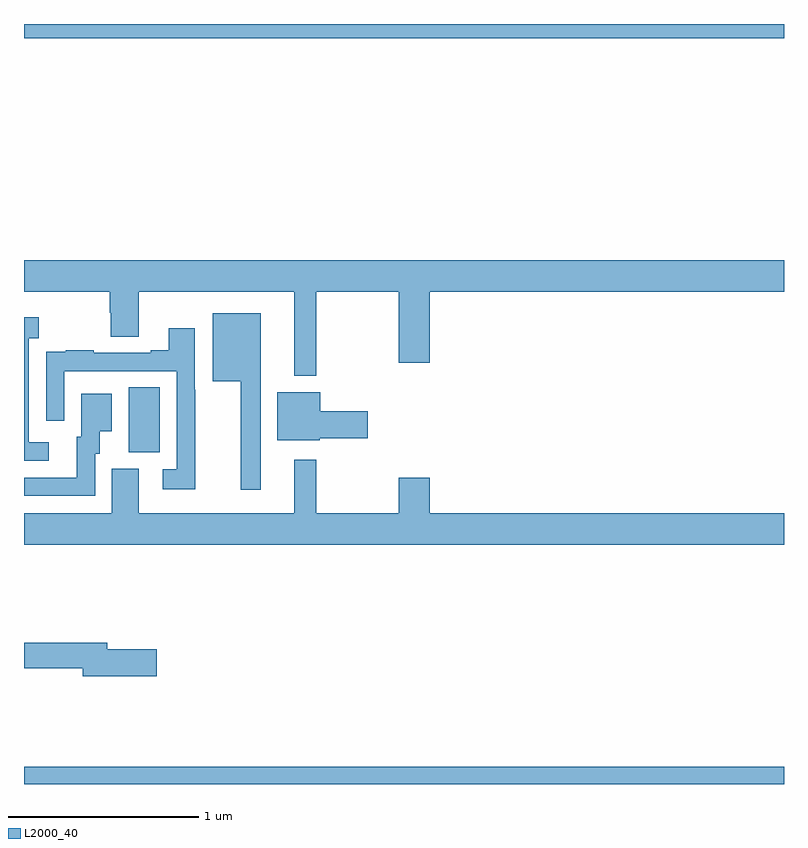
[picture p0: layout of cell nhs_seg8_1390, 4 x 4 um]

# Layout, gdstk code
import gdstk
lib = gdstk.Library(unit=1e-6, precision=1e-09)
def R(c, l, rs):  # rectangles x0, y0, x1, y1
    for r in rs: c.add(gdstk.rectangle(r[:2], r[2:], *l))
def P(c, l, *ps):  # polygons
    for p in ps: c.add(gdstk.Polygon(p, *l))
L2000_40 = (2000, 40)

nhs_seg8_1390 = lib.new_cell('nhs_seg8_1390')
R(nhs_seg8_1390, L2000_40, [(199,1121.9,203,1121.992), (199.55,1123.645,199.714,1123.988), (199,1125.824,203,1125.9)])
P(nhs_seg8_1390, L2000_40, [(199,1124.492),(199.451,1124.492),(199.451,1124.379),(199.456,1124.379),(199.456,1124.254),(199.603,1124.254),(199.603,1124.492),(200.423,1124.492),(200.423,1124.048),(200.537,1124.048),(200.537,1124.492),(200.972,1124.492),(200.972,1124.118),(201.136,1124.118),(201.136,1124.492),(203,1124.492),(203,1124.656),(199,1124.656)],
  [(200.245,1124.377),(199.994,1124.377),(199.994,1124.021),(200.141,1124.021),(200.141,1123.449),(200.245,1123.449)],
  [(199.129,1123.698),(199.026,1123.698),(199.026,1124.246),(199.078,1124.246),(199.078,1124.356),(199,1124.356),(199,1123.602),(199.129,1123.602)],
  [(199.902,1123.976),(199.899,1123.976),(199.899,1124.299),(199.763,1124.299),(199.763,1124.182),(199.667,1124.182),(199.667,1124.169),(199.367,1124.169),(199.367,1124.182),(199.219,1124.182),(199.219,1124.175),(199.117,1124.175),(199.117,1124.066),(199.116,1124.066),(199.116,1123.812),(199.212,1123.812),(199.212,1124.073),(199.803,1124.073),(199.803,1123.557),(199.731,1123.557),(199.731,1123.452),(199.902,1123.452)],
  [(200.556,1123.72),(200.809,1123.72),(200.809,1123.862),(200.56,1123.862),(200.56,1123.963),(200.333,1123.963),(200.333,1123.709),(200.556,1123.709)],
  [(199.374,1123.638),(199.399,1123.638),(199.399,1123.757),(199.462,1123.757),(199.462,1123.954),(199.301,1123.954),(199.301,1123.728),(199.277,1123.728),(199.277,1123.512),(199,1123.512),(199,1123.416),(199.374,1123.416)],
  [(203,1123.324),(201.136,1123.324),(201.136,1123.513),(200.972,1123.513),(200.972,1123.324),(200.537,1123.324),(200.537,1123.606),(200.423,1123.606),(200.423,1123.324),(199.603,1123.324),(199.603,1123.56),(199.463,1123.56),(199.463,1123.324),(199,1123.324),(199,1123.16),(203,1123.16)],
  [(199.699,1122.608),(199.438,1122.608),(199.438,1122.644),(199,1122.644),(199,1122.508),(199.31,1122.508),(199.31,1122.466),(199.699,1122.466)])

lib.write_gds('nhs_seg8_1390.gds')
